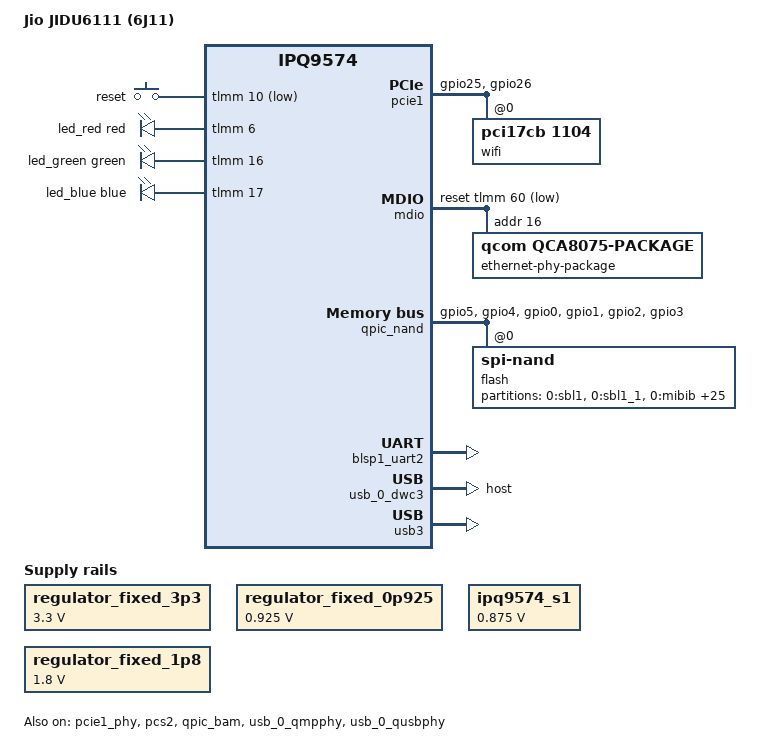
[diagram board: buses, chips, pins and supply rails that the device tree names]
// SPDX-License-Identifier: (GPL-2.0+ OR BSD-3-Clause)
/*
 * Jio JIDU6111 (6J11) - IPQ9574 Router
 * Arcadyan ODM, Qualcomm AL02 reference design derivative
 */

/dts-v1/;

#include <dt-bindings/gpio/gpio.h>
#include <dt-bindings/input/input.h>
#include <dt-bindings/leds/common.h>
#include "qcom/ipq9574.dtsi"

#include <dt-bindings/clock/qcom,qca8k-nsscc.h>
#include <dt-bindings/net/qcom,qca808x.h>
#include <dt-bindings/reset/qcom,qca8k-nsscc.h>

/ {
	model = "Jio JIDU6111 (6J11)";
	compatible = "jio,6j11", "qcom,ipq9574";

	aliases {
		serial0 = &blsp1_uart2;
	};

	chosen {
		stdout-path = "serial0:115200n8";
	};

	regulator_fixed_3p3: s3300 {
		compatible = "regulator-fixed";
		regulator-min-microvolt = <3300000>;
		regulator-max-microvolt = <3300000>;
		regulator-boot-on;
		regulator-always-on;
		regulator-name = "fixed_3p3";
	};

	regulator_fixed_0p925: s0925 {
		compatible = "regulator-fixed";
		regulator-min-microvolt = <925000>;
		regulator-max-microvolt = <925000>;
		regulator-boot-on;
		regulator-always-on;
		regulator-name = "fixed_0p925";
	};

	/*
	 * CPU supply — normally driven by MP5496 S1 via RPM, but RPM GLINK
	 * is non-functional on this board. Use a fixed regulator at the
	 * boot voltage set by the bootloader. DVFS will be disabled.
	 */
	ipq9574_s1: regulator-s1 {
		compatible = "regulator-fixed";
		regulator-min-microvolt = <875000>;
		regulator-max-microvolt = <875000>;
		regulator-boot-on;
		regulator-always-on;
		regulator-name = "fixed_cpu_supply";
	};

	regulator_fixed_1p8: s1800 {
		compatible = "regulator-fixed";
		regulator-min-microvolt = <1800000>;
		regulator-max-microvolt = <1800000>;
		regulator-boot-on;
		regulator-always-on;
		regulator-name = "fixed_1p8";
	};

	gpio-keys {
		compatible = "gpio-keys";
		pinctrl-0 = <&gpio_keys_default>;
		pinctrl-names = "default";

		reset {
			label = "reset";
			linux,code = <KEY_RESTART>;
			gpios = <&tlmm 10 GPIO_ACTIVE_LOW>;
		};
	};

	leds {
		compatible = "gpio-leds";
		pinctrl-0 = <&gpio_leds_default>;
		pinctrl-names = "default";

		led_red: led-0 {
			color = <LED_COLOR_ID_RED>;
			function = LED_FUNCTION_STATUS;
			gpios = <&tlmm 6 GPIO_ACTIVE_HIGH>;
			default-state = "on";
		};

		led_green: led-1 {
			color = <LED_COLOR_ID_GREEN>;
			function = LED_FUNCTION_STATUS;
			gpios = <&tlmm 16 GPIO_ACTIVE_HIGH>;
		};

		led_blue: led-2 {
			color = <LED_COLOR_ID_BLUE>;
			function = LED_FUNCTION_STATUS;
			gpios = <&tlmm 17 GPIO_ACTIVE_HIGH>;
		};
	};
};

/* ---- PCIe ---- */

&pcie0 { status = "disabled"; };
&pcie0_phy { status = "disabled"; };

&pcie1_phy {
	status = "okay";
};

&pcie1 {
	pinctrl-0 = <&pcie_qcn9000_pins>;
	pinctrl-names = "default";
	perst-gpios = <&tlmm 26 GPIO_ACTIVE_LOW>;
	status = "okay";

	pcie1_rp {
		reg = <0 0 0 0 0>;
		wifi@0 {
			compatible = "pci17cb,1104";
			reg = <0 0 0 0 0>;
			qcom,board_id = <0xb7>;
			calibration = <&precal_wifi1>;
		};
	};
};

&pcie2_phy { status = "disabled"; };
&pcie2 { status = "disabled"; };
&pcie3_phy { status = "disabled"; };
&pcie3 { status = "disabled"; };

/* ---- MDIO and Ethernet PHYs ---- */

&mdio {
	reset-gpios = <&tlmm 60 GPIO_ACTIVE_LOW>;
	reset-delay-us = <10000>;
	reset-post-delay-us = <50000>;
	clock-frequency = <6250000>;
	pinctrl-0 = <&mdio_pins>;
	pinctrl-names = "default";
	status = "okay";

	ethernet-phy-package@0 {
		compatible = "qcom,qca8075-package";
		#address-cells = <1>;
		#size-cells = <0>;
		reg = <0x10>;
		qcom,package-mode = "qsgmii";

		phy0: ethernet-phy@10 { reg = <0x10>; };
		phy1: ethernet-phy@11 { reg = <0x11>; };
		phy2: ethernet-phy@12 { reg = <0x12>; };
		phy3: ethernet-phy@13 { reg = <0x13>; };
		phy4: ethernet-phy@14 { reg = <0x14>; };
	};
};

/* ---- Pinmux ---- */

&tlmm {
	gpio_keys_default: gpio-keys-default-state {
		pins = "gpio10";
		function = "gpio";
		drive-strength = <8>;
		bias-pull-up;
	};

	gpio_leds_default: gpio-leds-default-state {
		pins = "gpio64";
		function = "gpio";
		drive-strength = <8>;
		bias-pull-up;
	};

	qpic_snand_default_state: qpic-snand-default-state {
		clock-pins {
			pins = "gpio5";
			function = "qspi_clk";
			drive-strength = <8>;
			bias-disable;
		};
		cs-pins {
			pins = "gpio4";
			function = "qspi_cs";
			drive-strength = <8>;
			bias-disable;
		};
		data-pins {
			pins = "gpio0", "gpio1", "gpio2", "gpio3";
			function = "qspi_data";
			drive-strength = <8>;
			bias-disable;
		};
	};

	pcie_qcn9000_pins: pcie-qcn9000-state {
		clkreq-n-pins {
			pins = "gpio25";
			function = "pcie1_clk";
			drive-strength = <6>;
			bias-pull-up;
		};
		perst-n-pins {
			pins = "gpio26";
			function = "gpio";
			drive-strength = <8>;
			bias-pull-up;
			output-low;
		};
	};
};

/* ---- Ethernet MAC (PPE) ---- */

&qcom_ppe {
	ethernet-ports {
		#address-cells = <1>;
		#size-cells = <0>;

		port@1 {
			reg = <1>;
			phy-mode = "qsgmii";
			managed = "in-band-status";
			label = "wan";
			nvmem-cells = <&macaddr_art_0>;
			nvmem-cell-names = "mac-address";
			phy-handle = <&phy0>;
			pcs-handle = <&pcs0_ch0>;
			clocks = <&nsscc NSS_CC_PORT1_MAC_CLK>,
				 <&nsscc NSS_CC_PORT1_RX_CLK>,
				 <&nsscc NSS_CC_PORT1_TX_CLK>;
			clock-names = "mac", "rx", "tx";
			resets = <&nsscc PORT1_MAC_ARES>,
				 <&nsscc PORT1_RX_ARES>,
				 <&nsscc PORT1_TX_ARES>;
			reset-names = "mac", "rx", "tx";
		};

		port@2 {
			reg = <2>;
			phy-mode = "qsgmii";
			managed = "in-band-status";
			label = "lan1";
			nvmem-cells = <&macaddr_art_0>;
			nvmem-cell-names = "mac-address";
			mac-address-increment = <1>;
			phy-handle = <&phy1>;
			pcs-handle = <&pcs0_ch1>;
			clocks = <&nsscc NSS_CC_PORT2_MAC_CLK>,
				 <&nsscc NSS_CC_PORT2_RX_CLK>,
				 <&nsscc NSS_CC_PORT2_TX_CLK>;
			clock-names = "mac", "rx", "tx";
			resets = <&nsscc PORT2_MAC_ARES>,
				 <&nsscc PORT2_RX_ARES>,
				 <&nsscc PORT2_TX_ARES>;
			reset-names = "mac", "rx", "tx";
		};

		port@3 {
			reg = <3>;
			phy-mode = "qsgmii";
			managed = "in-band-status";
			label = "lan2";
			nvmem-cells = <&macaddr_art_0>;
			nvmem-cell-names = "mac-address";
			mac-address-increment = <2>;
			phy-handle = <&phy2>;
			pcs-handle = <&pcs0_ch2>;
			clocks = <&nsscc NSS_CC_PORT3_MAC_CLK>,
				 <&nsscc NSS_CC_PORT3_RX_CLK>,
				 <&nsscc NSS_CC_PORT3_TX_CLK>;
			clock-names = "mac", "rx", "tx";
			resets = <&nsscc PORT3_MAC_ARES>,
				 <&nsscc PORT3_RX_ARES>,
				 <&nsscc PORT3_TX_ARES>;
			reset-names = "mac", "rx", "tx";
		};

		port@4 {
			reg = <4>;
			phy-mode = "qsgmii";
			managed = "in-band-status";
			label = "lan3";
			nvmem-cells = <&macaddr_art_0>;
			nvmem-cell-names = "mac-address";
			mac-address-increment = <3>;
			phy-handle = <&phy3>;
			pcs-handle = <&pcs0_ch3>;
			clocks = <&nsscc NSS_CC_PORT4_MAC_CLK>,
				 <&nsscc NSS_CC_PORT4_RX_CLK>,
				 <&nsscc NSS_CC_PORT4_TX_CLK>;
			clock-names = "mac", "rx", "tx";
			resets = <&nsscc PORT4_MAC_ARES>,
				 <&nsscc PORT4_RX_ARES>,
				 <&nsscc PORT4_TX_ARES>;
			reset-names = "mac", "rx", "tx";
		};

		port@5 {
			status = "disabled";
		};

		port@6 {
			reg = <6>;
			phy-mode = "qsgmii";
			managed = "in-band-status";
			label = "lan4";
			nvmem-cells = <&macaddr_art_0>;
			nvmem-cell-names = "mac-address";
			mac-address-increment = <4>;
			phy-handle = <&phy4>;
			pcs-handle = <&pcs2_ch0>;
			clocks = <&nsscc NSS_CC_PORT6_MAC_CLK>,
				 <&nsscc NSS_CC_PORT6_RX_CLK>,
				 <&nsscc NSS_CC_PORT6_TX_CLK>;
			clock-names = "mac", "rx", "tx";
			resets = <&nsscc PORT6_MAC_ARES>,
				 <&nsscc PORT6_RX_ARES>,
				 <&nsscc PORT6_TX_ARES>;
			reset-names = "mac", "rx", "tx";
		};
	};
};

&pcs1 {
	status = "disabled";
};

&pcs2 {
	status = "okay";
	qcom,uniphy-mode = "qsgmii";
};

/* ---- Serial NAND Flash ---- */

&qpic_bam {
	status = "okay";
};

&qpic_nand {
	pinctrl-0 = <&qpic_snand_default_state>;
	pinctrl-names = "default";
	status = "okay";

	flash@0 {
		compatible = "spi-nand";
		reg = <0>;
		#address-cells = <1>;
		#size-cells = <1>;
		nand-ecc-engine = <&qpic_nand>;

		partitions {
			compatible = "fixed-partitions";
			#address-cells = <1>;
			#size-cells = <1>;

			partition@0 {
				label = "0:sbl1";
				reg = <0x0 0x180000>;
				read-only;
			};
			partition@180000 {
				label = "0:sbl1_1";
				reg = <0x180000 0x180000>;
				read-only;
			};
			partition@300000 {
				label = "0:mibib";
				reg = <0x300000 0x100000>;
				read-only;
			};
			partition@400000 {
				label = "0:bootconfig";
				reg = <0x400000 0x80000>;
				read-only;
			};
			partition@480000 {
				label = "0:bootconfig1";
				reg = <0x480000 0x80000>;
				read-only;
			};
			partition@500000 {
				label = "0:qsee";
				reg = <0x500000 0x380000>;
				read-only;
			};
			partition@880000 {
				label = "0:qsee_1";
				reg = <0x880000 0x380000>;
				read-only;
			};
			partition@c00000 {
				label = "0:devcfg_1";
				reg = <0xc00000 0x80000>;
				read-only;
			};
			partition@c80000 {
				label = "0:devcfg";
				reg = <0xc80000 0x80000>;
				read-only;
			};
			partition@d00000 {
				label = "0:apdp_1";
				reg = <0xd00000 0x80000>;
				read-only;
			};
			partition@d80000 {
				label = "0:apdp";
				reg = <0xd80000 0x80000>;
				read-only;
			};
			partition@e00000 {
				label = "0:tme";
				reg = <0xe00000 0x80000>;
				read-only;
			};
			partition@e80000 {
				label = "0:tme_1";
				reg = <0xe80000 0x80000>;
				read-only;
			};
			partition@f00000 {
				label = "0:rpm_1";
				reg = <0xf00000 0x80000>;
				read-only;
			};
			partition@f80000 {
				label = "0:rpm";
				reg = <0xf80000 0x80000>;
				read-only;
			};
			partition@1000000 {
				label = "0:cdt_1";
				reg = <0x1000000 0x80000>;
				read-only;
			};
			partition@1080000 {
				label = "0:cdt";
				reg = <0x1080000 0x80000>;
				read-only;
			};
			partition@1100000 {
				label = "0:appsblenv";
				reg = <0x1100000 0x80000>;
			};
			partition@1180000 {
				label = "0:appsbl_1";
				reg = <0x1180000 0x180000>;
				read-only;
			};
			partition@1300000 {
				label = "0:appsbl";
				reg = <0x1300000 0x180000>;
				read-only;
			};
			partition@1480000 {
				compatible = "nvmem-cells";
				label = "0:art";
				reg = <0x1480000 0x100000>;
				read-only;

				macaddr_art_0: macaddr@0 {
					reg = <0x0 0x6>;
				};
				precal_wifi0: precal@0 {
					reg = <0x0 0x20000>;
				};
				precal_wifi1: precal@20000 {
					reg = <0x20000 0x20000>;
				};
			};
			partition@1580000 {
				label = "0:ethphyfw";
				reg = <0x1580000 0x100000>;
				read-only;
			};
			partition@1680000 {
				label = "0:training";
				reg = <0x1680000 0x80000>;
				read-only;
			};
			partition@1700000 {
				label = "firmware";
				reg = <0x1700000 0xa000000>;
				compatible = "denx,fit";
			};
			partition@b700000 {
				label = "customfs";
				reg = <0xb700000 0x4100000>;
				read-only;
			};
			partition@f800000 {
				label = "jio-reserved";
				reg = <0xf800000 0x200000>;
				read-only;
			};
			partition@fa00000 {
				label = "mfg";
				reg = <0xfa00000 0x200000>;
				read-only;
			};
			partition@fc00000 {
				label = "0:bdf";
				reg = <0xfc00000 0x200000>;
				read-only;
			};
		};
	};
};

/* ---- Serial ---- */

&blsp1_uart2 {
	pinctrl-0 = <&uart2_pins>;
	pinctrl-names = "default";
	status = "okay";
};

/*
 * RPM GLINK is non-functional on this board ("RPM TOC has invalid magic").
 * The MP5496 PMIC rails are hardware-always-on, so we use fixed regulators
 * defined in the root node instead.
 */

/* ---- Clocks ---- */

&sleep_clk {
	clock-frequency = <32000>;
};

&ref_48mhz_clk {
	clock-div = <1>;
	clock-mult = <1>;
};

&xo_board_clk {
	clock-div = <2>;
	clock-mult = <1>;
};

&xo_clk {
	clock-frequency = <48000000>;
};

/* ---- USB ---- */

&usb_0_dwc3 { dr_mode = "host"; };
&usb_0_qmpphy {
	vdda-pll-supply = <&regulator_fixed_1p8>;
	vdda-phy-supply = <&regulator_fixed_0p925>;
	status = "okay";
};
&usb_0_qusbphy {
	vdd-supply = <&regulator_fixed_0p925>;
	vdda-pll-supply = <&regulator_fixed_1p8>;
	vdda-phy-dpdm-supply = <&regulator_fixed_3p3>;
	status = "okay";
};
&usb3 { status = "okay"; };

/* ---- SPI NOR (not present) ---- */

&blsp1_spi0 {
	status = "disabled";
};
